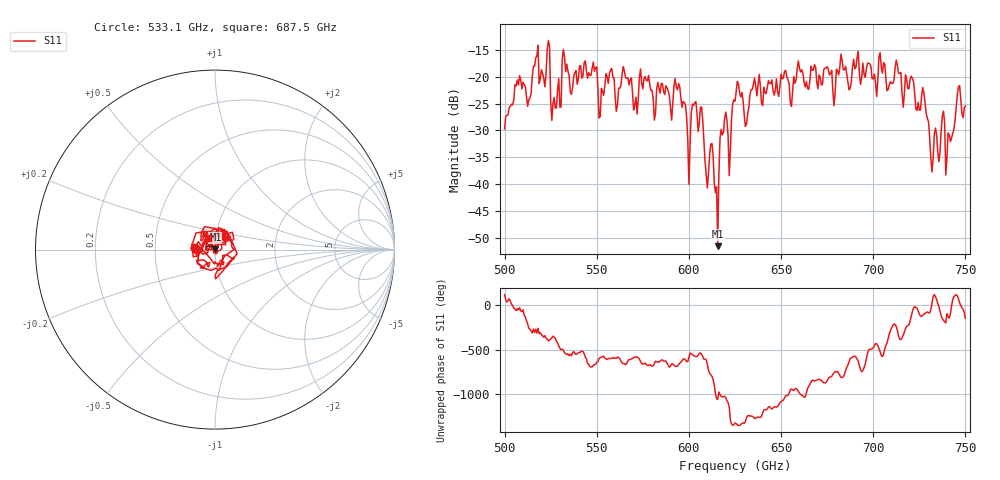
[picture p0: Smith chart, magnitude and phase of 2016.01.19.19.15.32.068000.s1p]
!Created with skrf (http://scikit-rf.org).
# GHz S RI R 50.0
!freq ReS11 ImS11
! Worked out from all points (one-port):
!   401 points, 500 GHz to 750 GHz, reference 50 ohm
!   lowest |S11| = -51.6 dB at 615.6 GHz (marker M1), VSWR 1.01, Z = 50.2 + j0.111 ohm
!   |S11| at or under -10 dB: start of sweep to end of sweep
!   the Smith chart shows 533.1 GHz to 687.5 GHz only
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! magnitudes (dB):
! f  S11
! 500 GHz  -29.7
! 506.9 GHz  -20.6
! 513.1 GHz  -24.2
! 516.9 GHz  -16.5
! 523.8 GHz  -13.2
! 526.9 GHz  -23.9
! 531.2 GHz  -16.8
! 562.5 GHz  -22.1
! 593.8 GHz  -22.4
! 600 GHz  -40.1
! 602.5 GHz  -25.4
! 606.9 GHz  -25.6
! 609.4 GHz  -38.2
! 615.6 GHz  -51.6
! 618.1 GHz  -30.8
! 621.9 GHz  -38.4
! 625 GHz  -24.6
! 631.2 GHz  -28.9
! 656.2 GHz  -22.9
! 660 GHz  -18.4
! 687.5 GHz  -22.1
! 718.8 GHz  -22.2
! 727.5 GHz  -23.0
! 731.9 GHz  -37.8
! 737.5 GHz  -27.3
! 740.6 GHz  -30.5
! 746.2 GHz  -21.8
! 750 GHz  -25.4
